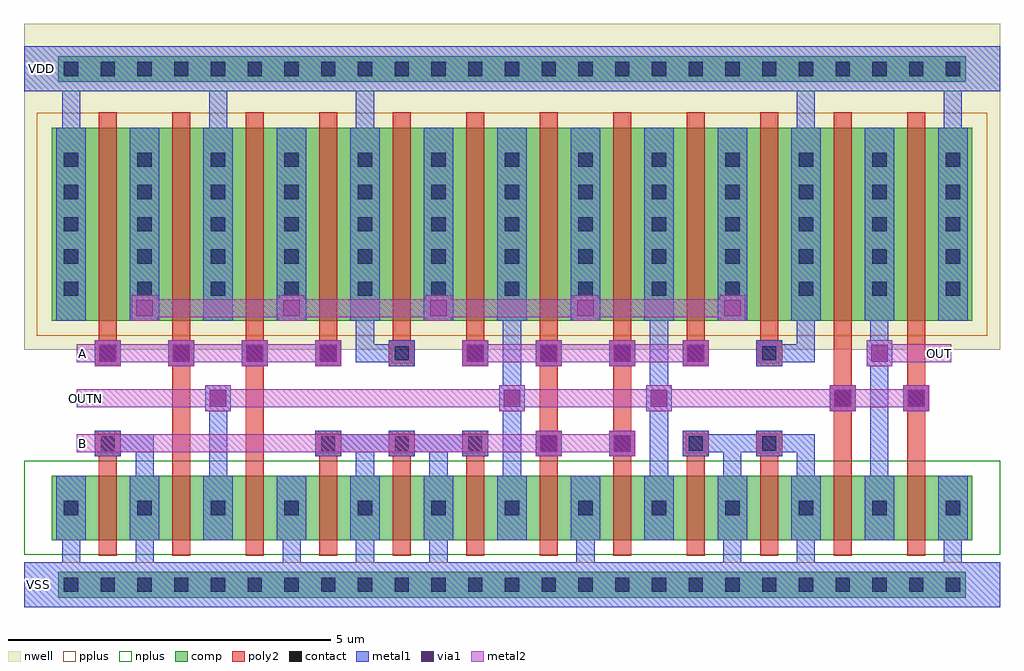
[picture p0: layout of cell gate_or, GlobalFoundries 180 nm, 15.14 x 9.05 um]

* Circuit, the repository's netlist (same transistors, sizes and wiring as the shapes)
** sch_path: /foss/designs/chipathon_2025/designs/gf180/gate_or/xschem/gate_or.sch
.subckt gate_or B VDD VSS OUT A
*.PININFO OUT:O A:I VDD:B VSS:B B:I
MNB OUTN B VSS VSS nfet_03v3 L=0.28u W=1u nf=1 m=2
MPB OUTN B net1 VDD pfet_03v3 L=0.28u W=3u nf=1 m=4
MNA OUTN A VSS VSS nfet_03v3 L=0.28u W=1u nf=1 m=2
MPA net1 A VDD VDD pfet_03v3 L=0.28u W=3u nf=1 m=4
MIN OUT OUTN VSS VSS nfet_03v3 L=0.28u W=1u nf=1 m=2
MIP OUT OUTN VDD VDD pfet_03v3 L=0.28u W=3u nf=1 m=2
MPB1 net1 VDD VDD VDD pfet_03v3 L=0.28u W=3u nf=1 m=2
MNA1 OUTN VSS VSS VSS nfet_03v3 L=0.28u W=1u nf=1 m=2
MNA2 VSS VSS VSS VSS nfet_03v3 L=0.28u W=1u nf=1 m=4
.ends

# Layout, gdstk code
from math import pi, radians
import gdstk
lib = gdstk.Library(unit=1e-6, precision=5e-09)
def R(c, l, rs):  # rectangles x0, y0, x1, y1
    for r in rs: c.add(gdstk.rectangle(r[:2], r[2:], *l))
def A(c, l, x, y, w, h, nx, ny, dx, dy):  # array of equal rectangles
    R(c, l, [(x+i*dx, y+j*dy, x+i*dx+w, y+j*dy+h) for i in range(nx) for j in range(ny)])
nwell = (21, 0)
comp = (22, 0)
poly2 = (30, 0)
pplus = (31, 0)
nplus = (32, 0)
contact = (33, 0)
metal1 = (34, 0)
via1 = (35, 0)
metal2 = (36, 0)

via_dev = lib.new_cell('via_dev')
R(via_dev, comp, [(0,0,0.4,0.4)])
R(via_dev, contact, [(0.09,0.09,0.31,0.31)])
R(via_dev, metal1, [(0,0,0.4,0.4)])

via_dev_3 = lib.new_cell('via_dev$3')
R(via_dev_3, metal1, [(0,0,0.4,0.4)])
R(via_dev_3, via1, [(0.07,0.07,0.33,0.33)])
R(via_dev_3, metal2, [(0,0,0.4,0.4)])

via_dev_1 = lib.new_cell('via_dev$1')
R(via_dev_1, poly2, [(0,0,0.4,0.4)])
R(via_dev_1, contact, [(0.09,0.09,0.31,0.31)])
R(via_dev_1, metal1, [(0,0,0.4,0.4)])
R(via_dev_1, via1, [(0.07,0.07,0.33,0.33)])
R(via_dev_1, metal2, [(0,0,0.4,0.4)])

via_dev_2 = lib.new_cell('via_dev$2')
R(via_dev_2, poly2, [(0,0,0.4,0.4)])
R(via_dev_2, contact, [(0.09,0.09,0.31,0.31)])
R(via_dev_2, metal1, [(0,0,0.4,0.4)])

gate_or = lib.new_cell('gate_or')
R(gate_or, nwell, [(0,3.99,10.58,9.05), (3.42,3.99,15.14,9.05)])
A(gate_or, comp, 0.53, 0.15, 2.11, 0.4, 3, 2, 1.71, 8)
A(gate_or, comp, 5.66, 0.15, 2.11, 0.4, 3, 2, 1.71, 8)
A(gate_or, comp, 2.71, 1.04, 2.88, 1, 6, 1, 1.14, 0)
A(gate_or, comp, 2.71, 4.44, 2.88, 3, 6, 1, 1.14, 0)
R(gate_or, comp, [(3.95,0.15,6.06,0.55), (5.66,0.15,7.77,0.55), (7.37,0.15,10.05,0.55), (10.79,0.15,14.61,0.55), (0.43,1.04,3.31,2.04), (10.69,1.04,14.71,2.04), (0.43,4.44,3.31,7.44), (10.69,4.44,14.71,7.44), (3.95,8.15,6.06,8.55), (5.66,8.15,7.77,8.55), (7.37,8.15,10.05,8.55), (10.79,8.15,14.61,8.55)])
A(gate_or, poly2, 1.16, 0.8, 0.28, 1.48, 4, 1, 1.14, 0)
A(gate_or, poly2, 9.14, 0.8, 0.28, 1.48, 5, 1, 1.14, 0)
A(gate_or, poly2, 1.16, 4.2, 0.28, 3.48, 4, 1, 1.14, 0)
A(gate_or, poly2, 9.14, 4.2, 0.28, 3.48, 5, 1, 1.14, 0)
R(gate_or, poly2, [(4.58,0.8,4.86,2.28), (5.72,0.8,6,2.28), (5.72,0.8,6,2.28), (6.86,0.8,7.14,2.28), (6.86,0.8,7.14,2.28), (8,0.8,8.28,2.28), (8,0.8,8.28,2.28), (9.14,0.8,9.42,2.28), (4.58,4.2,4.86,7.68), (5.72,4.2,6,7.68), (5.72,4.2,6,7.68), (6.86,4.2,7.14,7.68), (6.86,4.2,7.14,7.68), (8,4.2,8.28,7.68), (8,4.2,8.28,7.68), (9.14,4.2,9.42,7.68)])
A(gate_or, pplus, 2.48, 4.21, 3.34, 3.46, 6, 1, 1.14, 0)
R(gate_or, pplus, [(0,0,10.58,0.7), (3.42,0,15.14,0.7), (0.2,4.21,3.54,7.67), (10.46,4.21,14.94,7.67)])
R(gate_or, nplus, [(0,0.81,3.54,2.27), (2.48,0.81,5.82,2.27), (2.72,0.81,6.5,2.27), (3.42,0.81,6.96,2.27), (4.76,0.81,8.1,2.27), (5.9,0.81,9.24,2.27), (6.14,0.81,9.92,2.27), (6.5,0.81,10.28,2.27), (7.04,0.81,10.58,2.27), (8.18,0.81,11.52,2.27), (9.92,0.81,13.7,2.27), (10.46,0.81,15.14,2.27), (0,8,10.58,8.7), (3.42,8,15.14,8.7)])
A(gate_or, contact, 0.62, 1.43, 0.22, 0.22, 3, 2, 1.14, 3.4)
A(gate_or, contact, 10.88, 1.43, 0.22, 0.22, 3, 2, 1.14, 3.4)
A(gate_or, contact, 0.62, 4.83, 0.22, 0.22, 1, 5, 0, 0.5)
A(gate_or, contact, 2.9, 4.83, 0.22, 0.22, 1, 5, 0, 0.5)
A(gate_or, contact, 10.88, 4.83, 0.22, 0.22, 1, 5, 0, 0.5)
A(gate_or, contact, 0.62, 5.33, 0.22, 0.22, 3, 4, 1.14, 0.5)
A(gate_or, contact, 10.88, 5.33, 0.22, 0.22, 3, 4, 1.14, 0.5)
R(gate_or, contact, [(0.62,1.43,0.84,1.65), (2.9,1.43,3.12,1.65), (4.04,1.43,4.26,1.65), (4.04,1.43,4.26,1.65), (4.04,1.43,4.26,1.65), (5.18,1.43,5.4,1.65), (5.18,1.43,5.4,1.65), (5.18,1.43,5.4,1.65), (6.32,1.43,6.54,1.65), (6.32,1.43,6.54,1.65), (6.32,1.43,6.54,1.65), (7.46,1.43,7.68,1.65), (7.46,1.43,7.68,1.65), (7.46,1.43,7.68,1.65), (8.6,1.43,8.82,1.65), (8.6,1.43,8.82,1.65), (8.6,1.43,8.82,1.65), (9.74,1.43,9.96,1.65), (9.74,1.43,9.96,1.65), (9.74,1.43,9.96,1.65), (10.88,1.43,11.1,1.65), (13.16,1.43,13.38,1.65), (13.16,1.43,13.38,1.65), (14.3,1.43,14.52,1.65), (14.3,1.43,14.52,1.65), (4.04,4.83,4.26,5.05), (4.04,4.83,4.26,5.05), (4.04,4.83,4.26,5.05), (5.18,4.83,5.4,5.05), (5.18,4.83,5.4,5.05), (5.18,4.83,5.4,5.05), (6.32,4.83,6.54,5.05), (6.32,4.83,6.54,5.05), (6.32,4.83,6.54,5.05), (7.46,4.83,7.68,5.05), (7.46,4.83,7.68,5.05), (7.46,4.83,7.68,5.05), (8.6,4.83,8.82,5.05), (8.6,4.83,8.82,5.05), (8.6,4.83,8.82,5.05), (9.74,4.83,9.96,5.05), (9.74,4.83,9.96,5.05), (9.74,4.83,9.96,5.05), (13.16,4.83,13.38,5.05), (13.16,4.83,13.38,5.05), (14.3,4.83,14.52,5.05), (14.3,4.83,14.52,5.05), (4.04,5.33,4.26,5.55), (4.04,5.33,4.26,5.55), (4.04,5.33,4.26,5.55), (5.18,5.33,5.4,5.55), (5.18,5.33,5.4,5.55), (5.18,5.33,5.4,5.55), (6.32,5.33,6.54,5.55), (6.32,5.33,6.54,5.55), (6.32,5.33,6.54,5.55), (7.46,5.33,7.68,5.55), (7.46,5.33,7.68,5.55), (7.46,5.33,7.68,5.55), (8.6,5.33,8.82,5.55), (8.6,5.33,8.82,5.55), (8.6,5.33,8.82,5.55), (9.74,5.33,9.96,5.55), (9.74,5.33,9.96,5.55), (9.74,5.33,9.96,5.55), (13.16,5.33,13.38,5.55), (13.16,5.33,13.38,5.55), (14.3,5.33,14.52,5.55), (14.3,5.33,14.52,5.55), (4.04,5.83,4.26,6.05), (4.04,5.83,4.26,6.05), (4.04,5.83,4.26,6.05), (5.18,5.83,5.4,6.05), (5.18,5.83,5.4,6.05), (5.18,5.83,5.4,6.05), (6.32,5.83,6.54,6.05), (6.32,5.83,6.54,6.05), (6.32,5.83,6.54,6.05), (7.46,5.83,7.68,6.05), (7.46,5.83,7.68,6.05), (7.46,5.83,7.68,6.05), (8.6,5.83,8.82,6.05), (8.6,5.83,8.82,6.05), (8.6,5.83,8.82,6.05), (9.74,5.83,9.96,6.05), (9.74,5.83,9.96,6.05), (9.74,5.83,9.96,6.05), (13.16,5.83,13.38,6.05), (13.16,5.83,13.38,6.05), (14.3,5.83,14.52,6.05), (14.3,5.83,14.52,6.05), (4.04,6.33,4.26,6.55), (4.04,6.33,4.26,6.55), (4.04,6.33,4.26,6.55), (5.18,6.33,5.4,6.55), (5.18,6.33,5.4,6.55), (5.18,6.33,5.4,6.55), (6.32,6.33,6.54,6.55), (6.32,6.33,6.54,6.55), (6.32,6.33,6.54,6.55), (7.46,6.33,7.68,6.55), (7.46,6.33,7.68,6.55), (7.46,6.33,7.68,6.55), (8.6,6.33,8.82,6.55), (8.6,6.33,8.82,6.55), (8.6,6.33,8.82,6.55), (9.74,6.33,9.96,6.55), (9.74,6.33,9.96,6.55), (9.74,6.33,9.96,6.55), (13.16,6.33,13.38,6.55), (13.16,6.33,13.38,6.55), (14.3,6.33,14.52,6.55), (14.3,6.33,14.52,6.55), (4.04,6.83,4.26,7.05), (4.04,6.83,4.26,7.05), (4.04,6.83,4.26,7.05), (5.18,6.83,5.4,7.05), (5.18,6.83,5.4,7.05), (5.18,6.83,5.4,7.05), (6.32,6.83,6.54,7.05), (6.32,6.83,6.54,7.05), (6.32,6.83,6.54,7.05), (7.46,6.83,7.68,7.05), (7.46,6.83,7.68,7.05), (7.46,6.83,7.68,7.05), (8.6,6.83,8.82,7.05), (8.6,6.83,8.82,7.05), (8.6,6.83,8.82,7.05), (9.74,6.83,9.96,7.05), (9.74,6.83,9.96,7.05), (9.74,6.83,9.96,7.05), (13.16,6.83,13.38,7.05), (13.16,6.83,13.38,7.05), (14.3,6.83,14.52,7.05), (14.3,6.83,14.52,7.05)])
A(gate_or, metal1, 0.5, 1.31, 0.46, 0.46, 3, 2, 1.14, 3.4)
A(gate_or, metal1, 10.76, 1.31, 0.46, 0.46, 3, 2, 1.14, 3.4)
A(gate_or, metal1, 0.5, 4.44, 0.46, 3, 3, 1, 1.14, 0)
A(gate_or, metal1, 0.5, 4.71, 0.46, 0.46, 1, 5, 0, 0.5)
A(gate_or, metal1, 2.78, 4.71, 0.46, 0.46, 1, 5, 0, 0.5)
A(gate_or, metal1, 10.76, 4.71, 0.46, 0.46, 1, 5, 0, 0.5)
A(gate_or, metal1, 0.5, 5.21, 0.46, 0.46, 3, 4, 1.14, 0.5)
A(gate_or, metal1, 10.76, 5.21, 0.46, 0.46, 3, 4, 1.14, 0.5)
R(gate_or, metal1, [(0.5,1.04,0.96,2.04), (0.5,1.04,0.96,2.04), (0.5,1.04,0.96,2.04), (0.5,1.04,0.96,2.04), (1.64,1.04,2.1,2.04), (1.64,1.04,2.1,2.04), (2.78,1.04,3.24,2.04), (2.78,1.04,3.24,2.04), (3.92,1.04,4.38,2.04), (3.92,1.04,4.38,2.04), (3.92,1.04,4.38,2.04), (3.92,1.04,4.38,2.04), (5.06,1.04,5.52,2.04), (5.06,1.04,5.52,2.04), (5.06,1.04,5.52,2.04), (5.06,1.04,5.52,2.04), (6.2,1.04,6.66,2.04), (6.2,1.04,6.66,2.04), (6.2,1.04,6.66,2.04), (6.2,1.04,6.66,2.04), (7.34,1.04,7.8,2.04), (7.34,1.04,7.8,2.04), (7.34,1.04,7.8,2.04), (7.34,1.04,7.8,2.04), (8.48,1.04,8.94,2.04), (8.48,1.04,8.94,2.04), (8.48,1.04,8.94,2.04), (8.48,1.04,8.94,2.04), (9.62,1.04,10.08,2.04), (9.62,1.04,10.08,2.04), (9.62,1.04,10.08,2.04), (10.76,1.04,11.22,2.04), (10.76,1.04,11.22,2.04), (10.76,1.04,11.22,2.04), (11.9,1.04,12.36,2.04), (11.9,1.04,12.36,2.04), (13.04,1.04,13.5,2.04), (13.04,1.04,13.5,2.04), (13.04,1.04,13.5,2.04), (13.04,1.04,13.5,2.04), (13.04,1.04,13.5,2.04), (14.18,1.04,14.64,2.04), (14.18,1.04,14.64,2.04), (0.5,1.31,0.96,1.77), (2.78,1.31,3.24,1.77), (3.92,1.31,4.38,1.77), (3.92,1.31,4.38,1.77), (3.92,1.31,4.38,1.77), (5.06,1.31,5.52,1.77), (5.06,1.31,5.52,1.77), (5.06,1.31,5.52,1.77), (6.2,1.31,6.66,1.77), (6.2,1.31,6.66,1.77), (6.2,1.31,6.66,1.77), (7.34,1.31,7.8,1.77), (7.34,1.31,7.8,1.77), (7.34,1.31,7.8,1.77), (8.48,1.31,8.94,1.77), (8.48,1.31,8.94,1.77), (8.48,1.31,8.94,1.77), (9.62,1.31,10.08,1.77), (9.62,1.31,10.08,1.77), (9.62,1.31,10.08,1.77), (10.76,1.31,11.22,1.77), (13.04,1.31,13.5,1.77), (13.04,1.31,13.5,1.77), (14.18,1.31,14.64,1.77), (14.18,1.31,14.64,1.77), (0.5,4.44,0.96,7.44), (2.78,4.44,3.24,7.44), (2.78,4.44,3.24,7.44), (3.92,4.44,4.38,7.44), (3.92,4.44,4.38,7.44), (3.92,4.44,4.38,7.44), (5.06,4.44,5.52,7.44), (5.06,4.44,5.52,7.44), (5.06,4.44,5.52,7.44), (5.06,4.44,5.52,7.44), (6.2,4.44,6.66,7.44), (6.2,4.44,6.66,7.44), (6.2,4.44,6.66,7.44), (7.34,4.44,7.8,7.44), (7.34,4.44,7.8,7.44), (7.34,4.44,7.8,7.44), (8.48,4.44,8.94,7.44), (8.48,4.44,8.94,7.44), (8.48,4.44,8.94,7.44), (9.62,4.44,10.08,7.44), (9.62,4.44,10.08,7.44), (9.62,4.44,10.08,7.44), (9.62,4.44,10.08,7.44), (10.76,4.44,11.22,7.44), (10.76,4.44,11.22,7.44), (11.9,4.44,12.36,7.44), (11.9,4.44,12.36,7.44), (13.04,4.44,13.5,7.44), (13.04,4.44,13.5,7.44), (13.04,4.44,13.5,7.44), (14.18,4.44,14.64,7.44), (14.18,4.44,14.64,7.44), (14.18,4.44,14.64,7.44), (3.92,4.71,4.38,5.17), (3.92,4.71,4.38,5.17), (3.92,4.71,4.38,5.17), (5.06,4.71,5.52,5.17), (5.06,4.71,5.52,5.17), (5.06,4.71,5.52,5.17), (6.2,4.71,6.66,5.17), (6.2,4.71,6.66,5.17), (6.2,4.71,6.66,5.17), (7.34,4.71,7.8,5.17), (7.34,4.71,7.8,5.17), (7.34,4.71,7.8,5.17), (8.48,4.71,8.94,5.17), (8.48,4.71,8.94,5.17), (8.48,4.71,8.94,5.17), (9.62,4.71,10.08,5.17), (9.62,4.71,10.08,5.17), (9.62,4.71,10.08,5.17), (13.04,4.71,13.5,5.17), (13.04,4.71,13.5,5.17), (14.18,4.71,14.64,5.17), (14.18,4.71,14.64,5.17), (3.92,5.21,4.38,5.67), (3.92,5.21,4.38,5.67), (3.92,5.21,4.38,5.67), (5.06,5.21,5.52,5.67), (5.06,5.21,5.52,5.67), (5.06,5.21,5.52,5.67), (6.2,5.21,6.66,5.67), (6.2,5.21,6.66,5.67), (6.2,5.21,6.66,5.67), (7.34,5.21,7.8,5.67), (7.34,5.21,7.8,5.67), (7.34,5.21,7.8,5.67), (8.48,5.21,8.94,5.67), (8.48,5.21,8.94,5.67), (8.48,5.21,8.94,5.67), (9.62,5.21,10.08,5.67), (9.62,5.21,10.08,5.67), (9.62,5.21,10.08,5.67), (13.04,5.21,13.5,5.67), (13.04,5.21,13.5,5.67), (14.18,5.21,14.64,5.67), (14.18,5.21,14.64,5.67), (3.92,5.71,4.38,6.17), (3.92,5.71,4.38,6.17), (3.92,5.71,4.38,6.17), (5.06,5.71,5.52,6.17), (5.06,5.71,5.52,6.17), (5.06,5.71,5.52,6.17), (6.2,5.71,6.66,6.17), (6.2,5.71,6.66,6.17), (6.2,5.71,6.66,6.17), (7.34,5.71,7.8,6.17), (7.34,5.71,7.8,6.17), (7.34,5.71,7.8,6.17), (8.48,5.71,8.94,6.17), (8.48,5.71,8.94,6.17), (8.48,5.71,8.94,6.17), (9.62,5.71,10.08,6.17), (9.62,5.71,10.08,6.17), (9.62,5.71,10.08,6.17), (13.04,5.71,13.5,6.17), (13.04,5.71,13.5,6.17), (14.18,5.71,14.64,6.17), (14.18,5.71,14.64,6.17), (3.92,6.21,4.38,6.67), (3.92,6.21,4.38,6.67), (3.92,6.21,4.38,6.67), (5.06,6.21,5.52,6.67), (5.06,6.21,5.52,6.67), (5.06,6.21,5.52,6.67), (6.2,6.21,6.66,6.67), (6.2,6.21,6.66,6.67), (6.2,6.21,6.66,6.67), (7.34,6.21,7.8,6.67), (7.34,6.21,7.8,6.67), (7.34,6.21,7.8,6.67), (8.48,6.21,8.94,6.67), (8.48,6.21,8.94,6.67), (8.48,6.21,8.94,6.67), (9.62,6.21,10.08,6.67), (9.62,6.21,10.08,6.67), (9.62,6.21,10.08,6.67), (13.04,6.21,13.5,6.67), (13.04,6.21,13.5,6.67), (14.18,6.21,14.64,6.67), (14.18,6.21,14.64,6.67), (3.92,6.71,4.38,7.17), (3.92,6.71,4.38,7.17), (3.92,6.71,4.38,7.17), (5.06,6.71,5.52,7.17), (5.06,6.71,5.52,7.17), (5.06,6.71,5.52,7.17), (6.2,6.71,6.66,7.17), (6.2,6.71,6.66,7.17), (6.2,6.71,6.66,7.17), (7.34,6.71,7.8,7.17), (7.34,6.71,7.8,7.17), (7.34,6.71,7.8,7.17), (8.48,6.71,8.94,7.17), (8.48,6.71,8.94,7.17), (8.48,6.71,8.94,7.17), (9.62,6.71,10.08,7.17), (9.62,6.71,10.08,7.17), (9.62,6.71,10.08,7.17), (13.04,6.71,13.5,7.17), (13.04,6.71,13.5,7.17), (14.18,6.71,14.64,7.17), (14.18,6.71,14.64,7.17)])
gate_or.add(gdstk.FlexPath([(0,0.35),(10.58,0.35)], 0.7, ends="flush", simple_path=True, layer=34, datatype=0))  # metal1
gate_or.add(gdstk.FlexPath([(0,8.35),(10.58,8.35)], 0.7, ends="flush", simple_path=True, layer=34, datatype=0))  # metal1
gate_or.add(gdstk.FlexPath([(3.42,0.35),(15.14,0.35)], 0.7, ends="flush", simple_path=True, layer=34, datatype=0))  # metal1
gate_or.add(gdstk.FlexPath([(3.42,8.35),(15.14,8.35)], 0.7, ends="flush", simple_path=True, layer=34, datatype=0))  # metal1
gate_or.add(gdstk.FlexPath([(3.01,3.38),(3.01,1.04)], 0.28, ends="flush", simple_path=True, layer=34, datatype=0))  # metal1
gate_or.add(gdstk.FlexPath([(1.87,2.54),(1.87,0)], 0.28, ends="flush", simple_path=True, layer=34, datatype=0))  # metal1
gate_or.add(gdstk.FlexPath([(0.73,2.04),(0.73,0)], 0.28, ends="flush", simple_path=True, layer=34, datatype=0))  # metal1
gate_or.add(gdstk.FlexPath([(4.15,2.04),(4.15,0)], 0.28, ends="flush", simple_path=True, layer=34, datatype=0))  # metal1
gate_or.add(gdstk.FlexPath([(5.29,2.68),(5.29,0)], 0.28, ends="flush", simple_path=True, layer=34, datatype=0))  # metal1
gate_or.add(gdstk.FlexPath([(6.43,2.68),(6.43,0)], 0.28, ends="flush", simple_path=True, layer=34, datatype=0))  # metal1
gate_or.add(gdstk.FlexPath([(8.71,2.04),(8.71,0)], 0.28, ends="flush", simple_path=True, layer=34, datatype=0))  # metal1
gate_or.add(gdstk.FlexPath([(10.99,2.04),(10.99,0)], 0.28, ends="flush", simple_path=True, layer=34, datatype=0))  # metal1
gate_or.add(gdstk.FlexPath([(12.13,2.04),(12.13,0)], 0.28, ends="flush", simple_path=True, layer=34, datatype=0))  # metal1
gate_or.add(gdstk.FlexPath([(14.41,2.04),(14.41,0)], 0.28, ends="flush", simple_path=True, layer=34, datatype=0))  # metal1
gate_or.add(gdstk.FlexPath([(7.57,7.44),(7.57,1.04)], 0.28, ends="flush", simple_path=True, layer=34, datatype=0))  # metal1
gate_or.add(gdstk.FlexPath([(9.85,7.44),(9.85,1.04)], 0.28, ends="flush", simple_path=True, layer=34, datatype=0))  # metal1
gate_or.add(gdstk.FlexPath([(13.27,7.44),(13.27,1.04)], 0.28, ends="flush", simple_path=True, layer=34, datatype=0))  # metal1
gate_or.add(gdstk.FlexPath([(0.73,8.7),(0.73,4.44)], 0.28, ends="flush", simple_path=True, layer=34, datatype=0))  # metal1
gate_or.add(gdstk.FlexPath([(3.01,8.7),(3.01,4.44)], 0.28, ends="flush", simple_path=True, layer=34, datatype=0))  # metal1
gate_or.add(gdstk.FlexPath([(5.29,8.7),(5.29,3.8)], 0.28, ends="flush", simple_path=True, layer=34, datatype=0))  # metal1
gate_or.add(gdstk.FlexPath([(12.13,8.7),(12.13,3.8)], 0.28, ends="flush", simple_path=True, layer=34, datatype=0))  # metal1
gate_or.add(gdstk.FlexPath([(14.41,8.7),(14.41,4.44)], 0.28, ends="flush", simple_path=True, layer=34, datatype=0))  # metal1
gate_or.add(gdstk.FlexPath([(2.01,2.54),(1.16,2.54)], 0.28, ends="flush", simple_path=True, layer=34, datatype=0))  # metal1
gate_or.add(gdstk.FlexPath([(5.43,2.54),(4.58,2.54)], 0.28, ends="flush", simple_path=True, layer=34, datatype=0))  # metal1
gate_or.add(gdstk.FlexPath([(6.57,2.54),(5.72,2.54)], 0.28, ends="flush", simple_path=True, layer=34, datatype=0))  # metal1
gate_or.add(gdstk.FlexPath([(7.2,2.54),(5.43,2.54)], 0.28, ends="flush", simple_path=True, layer=34, datatype=0))  # metal1
gate_or.add(gdstk.FlexPath([(5.15,3.94),(6.06,3.94)], 0.28, ends="flush", simple_path=True, layer=34, datatype=0))  # metal1
gate_or.add(gdstk.FlexPath([(10.99,2.68),(10.99,0)], 0.28, ends="flush", simple_path=True, layer=34, datatype=0))  # metal1
gate_or.add(gdstk.FlexPath([(12.13,2.68),(12.13,0)], 0.28, ends="flush", simple_path=True, layer=34, datatype=0))  # metal1
gate_or.add(gdstk.FlexPath([(11.42,2.54),(10.28,2.54)], 0.28, ends="flush", simple_path=True, layer=34, datatype=0))  # metal1
gate_or.add(gdstk.FlexPath([(12.27,2.54),(11.42,2.54)], 0.28, ends="flush", simple_path=True, layer=34, datatype=0))  # metal1
gate_or.add(gdstk.FlexPath([(5.15,3.94),(6.06,3.94)], 0.28, ends="flush", simple_path=True, layer=34, datatype=0))  # metal1
gate_or.add(gdstk.FlexPath([(12.27,3.94),(11.36,3.94)], 0.28, ends="flush", simple_path=True, layer=34, datatype=0))  # metal1
gate_or.add(gdstk.FlexPath([(12.27,3.94),(11.36,3.94)], 0.28, ends="flush", simple_path=True, layer=34, datatype=0))  # metal1
gate_or.add(gdstk.FlexPath([(2.44,4.2),(2.44,2.28)], 0.28, ends="flush", simple_path=True, layer=30, datatype=0))  # poly2
gate_or.add(gdstk.FlexPath([(3.58,4.2),(3.58,2.28)], 0.28, ends="flush", simple_path=True, layer=30, datatype=0))  # poly2
gate_or.add(gdstk.FlexPath([(1.3,4.2),(1.3,3.94)], 0.28, ends="flush", simple_path=True, layer=30, datatype=0))  # poly2
gate_or.add(gdstk.FlexPath([(4.72,4.2),(4.72,3.94)], 0.28, ends="flush", simple_path=True, layer=30, datatype=0))  # poly2
gate_or.add(gdstk.FlexPath([(2.44,4.2),(2.44,3.94)], 0.28, ends="flush", simple_path=True, layer=30, datatype=0))  # poly2
gate_or.add(gdstk.FlexPath([(3.58,4.2),(3.58,3.94)], 0.28, ends="flush", simple_path=True, layer=30, datatype=0))  # poly2
gate_or.add(gdstk.FlexPath([(4.72,4.2),(4.72,3.94)], 0.28, ends="flush", simple_path=True, layer=30, datatype=0))  # poly2
gate_or.add(gdstk.FlexPath([(7,4.2),(7,3.94)], 0.28, ends="flush", simple_path=True, layer=30, datatype=0))  # poly2
gate_or.add(gdstk.FlexPath([(10.42,4.2),(10.42,3.94)], 0.28, ends="flush", simple_path=True, layer=30, datatype=0))  # poly2
gate_or.add(gdstk.FlexPath([(8.14,4.2),(8.14,3.94)], 0.28, ends="flush", simple_path=True, layer=30, datatype=0))  # poly2
gate_or.add(gdstk.FlexPath([(9.28,4.2),(9.28,3.94)], 0.28, ends="flush", simple_path=True, layer=30, datatype=0))  # poly2
gate_or.add(gdstk.FlexPath([(10.42,4.2),(10.42,3.94)], 0.28, ends="flush", simple_path=True, layer=30, datatype=0))  # poly2
gate_or.add(gdstk.FlexPath([(8.14,4.2),(8.14,2.28)], 0.28, ends="flush", simple_path=True, layer=30, datatype=0))  # poly2
gate_or.add(gdstk.FlexPath([(9.28,4.2),(9.28,2.28)], 0.28, ends="flush", simple_path=True, layer=30, datatype=0))  # poly2
gate_or.add(gdstk.FlexPath([(12.7,4.2),(12.7,2.28)], 0.28, ends="flush", simple_path=True, layer=30, datatype=0))  # poly2
gate_or.add(gdstk.FlexPath([(13.84,4.2),(13.84,2.28)], 0.28, ends="flush", simple_path=True, layer=30, datatype=0))  # poly2
gate_or.add(gdstk.FlexPath([(1.3,2.54),(1.3,2.28)], 0.28, ends="flush", simple_path=True, layer=30, datatype=0))  # poly2
gate_or.add(gdstk.FlexPath([(4.72,2.54),(4.72,2.28)], 0.28, ends="flush", simple_path=True, layer=30, datatype=0))  # poly2
gate_or.add(gdstk.FlexPath([(5.86,2.54),(5.86,2.28)], 0.28, ends="flush", simple_path=True, layer=30, datatype=0))  # poly2
gate_or.add(gdstk.FlexPath([(7,2.54),(7,2.28)], 0.28, ends="flush", simple_path=True, layer=30, datatype=0))  # poly2
gate_or.add(gdstk.FlexPath([(5.86,3.94),(5.86,4.2)], 0.28, ends="flush", simple_path=True, layer=30, datatype=0))  # poly2
gate_or.add(gdstk.FlexPath([(10.42,2.54),(10.42,2.28)], 0.28, ends="flush", simple_path=True, layer=30, datatype=0))  # poly2
gate_or.add(gdstk.FlexPath([(11.56,2.54),(11.56,2.28)], 0.28, ends="flush", simple_path=True, layer=30, datatype=0))  # poly2
gate_or.add(gdstk.FlexPath([(11.56,3.94),(11.56,4.2)], 0.28, ends="flush", simple_path=True, layer=30, datatype=0))  # poly2
gate_or.add(gdstk.FlexPath([(0.82,3.24),(13.98,3.24)], 0.28, ends="flush", simple_path=True, layer=36, datatype=0))  # metal2
gate_or.add(gdstk.FlexPath([(0.82,3.94),(4.86,3.94)], 0.28, ends="flush", simple_path=True, layer=36, datatype=0))  # metal2
gate_or.add(gdstk.FlexPath([(1.67,4.64),(6.23,4.64)], 0.28, ends="flush", simple_path=True, layer=36, datatype=0))  # metal2
gate_or.add(gdstk.FlexPath([(1.67,4.64),(6.23,4.64)], 0.28, ends="flush", simple_path=True, layer=36, datatype=0))  # metal2
gate_or.add(gdstk.FlexPath([(6.86,3.94),(10.56,3.94)], 0.28, ends="flush", simple_path=True, layer=36, datatype=0))  # metal2
gate_or.add(gdstk.FlexPath([(6.23,4.64),(8.91,4.64)], 0.28, ends="flush", simple_path=True, layer=36, datatype=0))  # metal2
gate_or.add(gdstk.FlexPath([(6.23,4.64),(8.91,4.64)], 0.28, ends="flush", simple_path=True, layer=36, datatype=0))  # metal2
gate_or.add(gdstk.FlexPath([(8.51,4.64),(11.19,4.64)], 0.28, ends="flush", simple_path=True, layer=36, datatype=0))  # metal2
gate_or.add(gdstk.FlexPath([(8.51,4.64),(11.19,4.64)], 0.28, ends="flush", simple_path=True, layer=36, datatype=0))  # metal2
gate_or.add(gdstk.FlexPath([(13.13,3.94),(14.38,3.94),(14.38,3.94)], 0.28, ends="flush", simple_path=True, layer=36, datatype=0))  # metal2
gate_or.add(gdstk.FlexPath([(0.82,2.54),(9.48,2.54)], 0.28, ends="flush", simple_path=True, layer=36, datatype=0))  # metal2
gate_or.add(gdstk.Reference(via_dev, (7.37,8.15)))
gate_or.add(gdstk.Reference(via_dev, (7.37,8.15)))
gate_or.add(gdstk.Reference(via_dev, (7.37,8.15)))
gate_or.add(gdstk.Reference(via_dev, (7.37,0.15)))
gate_or.add(gdstk.Reference(via_dev, (7.37,0.15)))
gate_or.add(gdstk.Reference(via_dev, (7.37,0.15)))
gate_or.add(gdstk.Reference(via_dev, (7.37,8.15)))
gate_or.add(gdstk.Reference(via_dev, (7.37,8.15)))
gate_or.add(gdstk.Reference(via_dev, (7.37,0.15)))
gate_or.add(gdstk.Reference(via_dev, (7.37,0.15)))
gate_or.add(gdstk.Reference(via_dev_3, (7.37,3.04)))
gate_or.add(gdstk.Reference(via_dev, (7.94,8.15)))
gate_or.add(gdstk.Reference(via_dev, (8.51,8.15)))
gate_or.add(gdstk.Reference(via_dev, (9.08,8.15)))
gate_or.add(gdstk.Reference(via_dev, (8.51,8.15)))
gate_or.add(gdstk.Reference(via_dev, (9.65,8.15)))
gate_or.add(gdstk.Reference(via_dev, (10.22,8.15)))
gate_or.add(gdstk.Reference(via_dev, (10.79,8.15)))
gate_or.add(gdstk.Reference(via_dev, (9.08,8.15)))
gate_or.add(gdstk.Reference(via_dev, (10.79,8.15)))
gate_or.add(gdstk.Reference(via_dev, (11.36,8.15)))
gate_or.add(gdstk.Reference(via_dev, (11.93,8.15)))
gate_or.add(gdstk.Reference(via_dev, (12.5,8.15)))
gate_or.add(gdstk.Reference(via_dev, (10.79,8.15)))
gate_or.add(gdstk.Reference(via_dev, (13.07,8.15)))
gate_or.add(gdstk.Reference(via_dev, (9.08,8.15)))
gate_or.add(gdstk.Reference(via_dev, (7.94,8.15)))
gate_or.add(gdstk.Reference(via_dev, (13.07,8.15)))
gate_or.add(gdstk.Reference(via_dev, (13.64,8.15)))
gate_or.add(gdstk.Reference(via_dev, (14.21,8.15)))
gate_or.add(gdstk.Reference(via_dev_3, (8.51,4.44)))
gate_or.add(gdstk.Reference(via_dev_3, (8.51,4.44)))
gate_or.add(gdstk.Reference(via_dev_3, (8.51,4.44)))
gate_or.add(gdstk.Reference(via_dev_3, (10.79,4.44)))
gate_or.add(gdstk.Reference(via_dev_3, (8.51,4.44)))
gate_or.add(gdstk.Reference(via_dev_3, (10.79,4.44)))
gate_or.add(gdstk.Reference(via_dev, (9.65,8.15)))
gate_or.add(gdstk.Reference(via_dev, (5.66,8.15)))
gate_or.add(gdstk.Reference(via_dev, (1.67,8.15)))
gate_or.add(gdstk.Reference(via_dev, (2.24,8.15)))
gate_or.add(gdstk.Reference(via_dev, (0.53,8.15)))
gate_or.add(gdstk.Reference(via_dev, (2.81,8.15)))
gate_or.add(gdstk.Reference(via_dev, (3.38,8.15)))
gate_or.add(gdstk.Reference(via_dev, (3.95,8.15)))
gate_or.add(gdstk.Reference(via_dev, (2.24,8.15)))
gate_or.add(gdstk.Reference(via_dev, (4.52,8.15)))
gate_or.add(gdstk.Reference(via_dev, (5.09,8.15)))
gate_or.add(gdstk.Reference(via_dev, (4.52,8.15)))
gate_or.add(gdstk.Reference(via_dev, (5.09,8.15)))
gate_or.add(gdstk.Reference(via_dev_3, (1.67,4.44)))
gate_or.add(gdstk.Reference(via_dev_3, (3.95,4.44)))
gate_or.add(gdstk.Reference(via_dev_3, (1.67,4.44)))
gate_or.add(gdstk.Reference(via_dev_3, (3.95,4.44)))
gate_or.add(gdstk.Reference(via_dev, (5.66,8.15)))
gate_or.add(gdstk.Reference(via_dev, (3.95,8.15)))
gate_or.add(gdstk.Reference(via_dev, (6.23,8.15)))
gate_or.add(gdstk.Reference(via_dev_3, (6.23,4.44)))
gate_or.add(gdstk.Reference(via_dev, (6.8,8.15)))
gate_or.add(gdstk.Reference(via_dev_3, (6.23,4.44)))
gate_or.add(gdstk.Reference(via_dev, (5.66,8.15)))
gate_or.add(gdstk.Reference(via_dev, (5.66,8.15)))
gate_or.add(gdstk.Reference(via_dev, (3.95,8.15)))
gate_or.add(gdstk.Reference(via_dev, (6.23,8.15)))
gate_or.add(gdstk.Reference(via_dev, (6.8,8.15)))
gate_or.add(gdstk.Reference(via_dev, (1.1,8.15)))
gate_or.add(gdstk.Reference(via_dev, (3.95,0.15)))
gate_or.add(gdstk.Reference(via_dev, (6.23,0.15)))
gate_or.add(gdstk.Reference(via_dev, (6.8,0.15)))
gate_or.add(gdstk.Reference(via_dev, (5.66,0.15)))
gate_or.add(gdstk.Reference(via_dev, (5.66,0.15)))
gate_or.add(gdstk.Reference(via_dev, (3.95,0.15)))
gate_or.add(gdstk.Reference(via_dev_1, (1.1,3.74)))
gate_or.add(gdstk.Reference(via_dev_1, (2.24,3.74)))
gate_or.add(gdstk.Reference(via_dev_1, (3.38,3.74)))
gate_or.add(gdstk.Reference(via_dev_1, (4.52,3.74)))
gate_or.add(gdstk.Reference(via_dev, (6.23,0.15)))
gate_or.add(gdstk.Reference(via_dev, (6.8,0.15)))
gate_or.add(gdstk.Reference(via_dev, (1.1,0.15)))
gate_or.add(gdstk.Reference(via_dev, (5.66,0.15)))
gate_or.add(gdstk.Reference(via_dev_3, (2.81,3.04)))
gate_or.add(gdstk.Reference(via_dev, (1.67,0.15)))
gate_or.add(gdstk.Reference(via_dev, (2.24,0.15)))
gate_or.add(gdstk.Reference(via_dev, (0.53,0.15)))
gate_or.add(gdstk.Reference(via_dev_1, (6.8,3.74)))
gate_or.add(gdstk.Reference(via_dev, (2.81,0.15)))
gate_or.add(gdstk.Reference(via_dev, (3.38,0.15)))
gate_or.add(gdstk.Reference(via_dev, (3.95,0.15)))
gate_or.add(gdstk.Reference(via_dev, (2.24,0.15)))
gate_or.add(gdstk.Reference(via_dev, (4.52,0.15)))
gate_or.add(gdstk.Reference(via_dev, (5.09,0.15)))
gate_or.add(gdstk.Reference(via_dev, (4.52,0.15)))
gate_or.add(gdstk.Reference(via_dev, (5.09,0.15)))
gate_or.add(gdstk.Reference(via_dev, (5.66,0.15)))
gate_or.add(gdstk.Reference(via_dev_2, (1.1,2.34)))
gate_or.add(gdstk.Reference(via_dev_2, (4.52,2.34)))
gate_or.add(gdstk.Reference(via_dev_2, (5.66,2.34)))
gate_or.add(gdstk.Reference(via_dev_2, (6.8,2.34)))
gate_or.add(gdstk.Reference(via_dev_2, (5.66,4.14), x_reflection=True))
gate_or.add(gdstk.Reference(via_dev_2, (5.66,3.74)))
gate_or.add(gdstk.Reference(via_dev, (10.79,0.15)))
gate_or.add(gdstk.Reference(via_dev, (13.07,0.15)))
gate_or.add(gdstk.Reference(via_dev, (13.64,0.15)))
gate_or.add(gdstk.Reference(via_dev, (14.21,0.15)))
gate_or.add(gdstk.Reference(via_dev, (11.36,0.15)))
gate_or.add(gdstk.Reference(via_dev_1, (7.94,3.74)))
gate_or.add(gdstk.Reference(via_dev_1, (9.08,3.74)))
gate_or.add(gdstk.Reference(via_dev_1, (10.22,3.74)))
gate_or.add(gdstk.Reference(via_dev, (11.93,0.15)))
gate_or.add(gdstk.Reference(via_dev, (12.5,0.15)))
gate_or.add(gdstk.Reference(via_dev, (10.79,0.15)))
gate_or.add(gdstk.Reference(via_dev, (13.07,0.15)))
gate_or.add(gdstk.Reference(via_dev, (9.65,0.15)))
gate_or.add(gdstk.Reference(via_dev, (8.51,0.15)))
gate_or.add(gdstk.Reference(via_dev, (9.08,0.15)))
gate_or.add(gdstk.Reference(via_dev, (7.94,0.15)))
gate_or.add(gdstk.Reference(via_dev, (8.51,0.15)))
gate_or.add(gdstk.Reference(via_dev_3, (9.65,3.04)))
gate_or.add(gdstk.Reference(via_dev_1, (12.5,3.04)))
gate_or.add(gdstk.Reference(via_dev_1, (13.64,3.04)))
gate_or.add(gdstk.Reference(via_dev_3, (13.07,3.74)))
gate_or.add(gdstk.Reference(via_dev, (9.08,0.15)))
gate_or.add(gdstk.Reference(via_dev, (7.94,0.15)))
gate_or.add(gdstk.Reference(via_dev, (9.65,0.15)))
gate_or.add(gdstk.Reference(via_dev, (10.22,0.15)))
gate_or.add(gdstk.Reference(via_dev_2, (10.22,2.34)))
gate_or.add(gdstk.Reference(via_dev_2, (11.36,2.34)))
gate_or.add(gdstk.Reference(via_dev, (10.79,0.15)))
gate_or.add(gdstk.Reference(via_dev, (9.08,0.15)))
gate_or.add(gdstk.Reference(via_dev_2, (11.76,4.14), rotation=pi))
gate_or.add(gdstk.Reference(via_dev_2, (11.76,3.74), rotation=pi, x_reflection=True))
gate_or.add(gdstk.Reference(via_dev_1, (7.94,2.34)))
gate_or.add(gdstk.Reference(via_dev_1, (9.08,2.34)))
gate_or.add(gdstk.Label('OUTN', (0.96,3.24), layer=36, texttype=10))
gate_or.add(gdstk.Label('A', (0.91,3.94), layer=36, texttype=10))
gate_or.add(gdstk.Label('B', (0.915,2.54), layer=36, texttype=10))
gate_or.add(gdstk.Label('OUT', (14.2,3.94), layer=36, texttype=10))
gate_or.add(gdstk.Label('VSS', (0.22,0.35), layer=34, texttype=10))
gate_or.add(gdstk.Label('VDD', (0.275,8.35), layer=34, texttype=10))

lib.write_gds('gate_or.gds')
